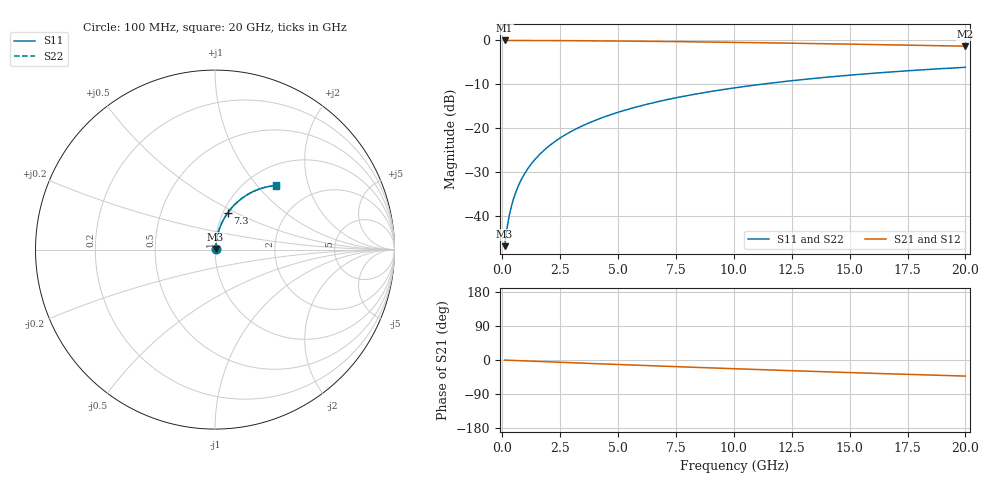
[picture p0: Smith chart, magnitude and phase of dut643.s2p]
! Touchstone file exported from HFSS 2026.1.0
!  File:  C:/ffzhzh/LocalFiles/Ansys_Project_Files/temp_train_BSMRDL_643_1783016802_53980.aedt
!  Generated:  02:28:11 AM Jul  3, 2026
!  Design:  BSMRDL
!  Project:  temp_train_BSMRDL_643_1783016802_53980
! Variables:
!  h_bsmrdl = 4.55um
!  h_ox = 20um
!  h_rdl = 5um
!  h_sub = 80um
!  h_tmrdl = 5um
!  h_tsv = 80um
!  h_via = 3um
!  l_bsmrdl = 532.5um
!  l_sub = 932.5um
!  l_tmrdl = 200um
!  m_sub = 200um
!  pitch = 57.92um
!  r_tsv = 6um
!  s_tmrdl = 10um
!  w_bsmrdl = 12.98um
!  w_sub = 500um
!  w_tmrdl = 12um
!  x_tsv_center1 = 206um
!  x_tsv_center2 = 751.48um
!  x_tsv_center3 = 963.48um
!  x_tsv_center4 = 1508.96um
!  x_tsv_center5 = 1720.96um
!  x_tsv_center6 = 2266.44um
# GHz S MA R 50.000000
! Terminal data exported
! Port[1] = BSM_RDL1_1_T1
! Port[2] = BSM_RDL1_1_T2
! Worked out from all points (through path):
!   200 points, 100 MHz to 20 GHz, reference 50 ohm
!   highest |S21| = -0.03 dB at 100 MHz (marker M1); lowest = -1.3 dB at 20 GHz (marker M2)
!   group delay of S21, straight-line fit = 5.91 ps
!   lowest |S11| = -46.8 dB at 100 MHz (marker M3), VSWR 1.01, Z = 50.3 + j0.323 ohm
!   |S11| at or under -10 dB: start of sweep to 11.16 GHz
!   |S22| runs from -46.8 to -6.1 dB; largest |S21 - S12| = 4.6e-15
!   S11 on the Smith chart (normalised r, x): 100 MHz: 1.01, +0.01; 7.3 GHz: 1.05, +0.45; 20 GHz: 1.35, +1.27
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0.1  0.004584 44.5  0.9967 -0.2  0.9967 -0.2  0.004584 44.5
! Gamma 0 0 0 0
! Port Impedance 50 0 50 0
0.2  0.007236 62.3  0.9967 -0.5  0.9967 -0.5  0.007236 62.3
0.3  0.01019 69.9  0.9966 -0.7  0.9966 -0.7  0.01019 69.9
0.4  0.01323 73.9  0.9965 -1.0  0.9965 -1.0  0.01323 73.9
0.5  0.01629 76.3  0.9963 -1.2  0.9963 -1.2  0.01629 76.3
0.7  0.02244 78.9  0.9961 -1.7  0.9961 -1.7  0.02244 78.9
0.8  0.02551 79.7  0.996 -1.9  0.996 -1.9  0.02551 79.7
1  0.03167 80.7  0.9957 -2.4  0.9957 -2.4  0.03167 80.7
1.4  0.044 81.4  0.9951 -3.4  0.9951 -3.4  0.044 81.4
1.7  0.05324 81.5  0.9945 -4.1  0.9945 -4.1  0.05324 81.5
2  0.06246 81.3  0.9939 -4.8  0.9939 -4.8  0.06246 81.3
2.7  0.08384 80.3  0.9919 -6.5  0.9919 -6.5  0.08384 80.3
3.5  0.108 78.9  0.9891 -8.4  0.9891 -8.4  0.108 78.9
4.2  0.1288 77.5  0.9861 -10.0  0.9861 -10.0  0.1288 77.5
5  0.1523 75.8  0.9822 -11.9  0.9822 -11.9  0.1523 75.8
6.8  0.2033 71.9  0.9718 -16.0  0.9718 -16.0  0.2033 71.9
7.3  0.217 70.9  0.9686 -17.1  0.9686 -17.1  0.217 70.9
8.6  0.2518 68.1  0.9595 -20.0  0.9595 -20.0  0.2518 68.1
10.1  0.2902 65.0  0.948 -23.2  0.948 -23.2  0.2902 65.0
13.4  0.3678 58.4  0.9199 -30.1  0.9199 -30.1  0.3678 58.4
16.7  0.4357 52.1  0.8894 -36.5  0.8894 -36.5  0.4357 52.1
20  0.4941 46.3  0.8584 -42.4  0.8584 -42.4  0.4941 46.3
